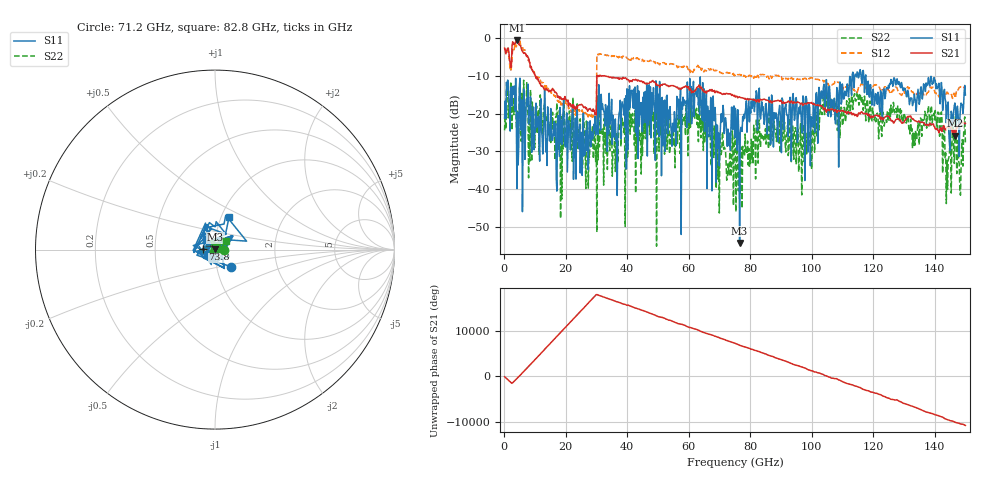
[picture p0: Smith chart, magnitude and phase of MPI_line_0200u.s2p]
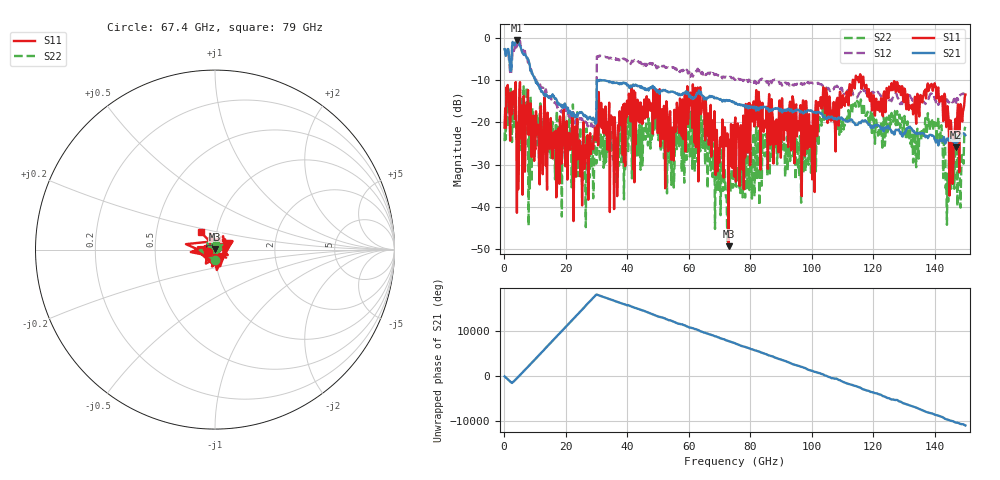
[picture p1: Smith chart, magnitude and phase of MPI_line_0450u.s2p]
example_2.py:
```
"""
Example to demonstrate how to do a 1st-tier mTRL calibration (raw data from VNA).
"""
import os  

# need to be installed via pip
import skrf as rf 
import numpy as np
import matplotlib.pyplot as plt

# my script (MultiCal.py and TUGmTRL must also be in same folder)
from mTRL import mTRL

class PlotSettings:
    # to make plots look better for publication
    # https://matplotlib.org/stable/tutorials/introductory/customizing.html
    def __init__(self, font_size=10, latex=False): 
        self.font_size = font_size 
        self.latex = latex
    def __enter__(self):
        plt.style.use('seaborn-v0_8-paper')
        # make svg output text and not curves
        plt.rcParams['svg.fonttype'] = 'none'
        # fontsize of the axes title
        plt.rc('axes', titlesize=self.font_size*1.2)
        # fontsize of the x and y labels
        plt.rc('axes', labelsize=self.font_size)
        # fontsize of the tick labels
        plt.rc('xtick', labelsize=self.font_size)
        plt.rc('ytick', labelsize=self.font_size)
        # legend fontsize
        plt.rc('legend', fontsize=self.font_size*1)
        # fontsize of the figure title
        plt.rc('figure', titlesize=self.font_size)
        # controls default text sizes
        plt.rc('text', usetex=self.latex)
        #plt.rc('font', size=self.font_size, family='serif', serif='Times New Roman')
        plt.rc('lines', linewidth=1.5)
    def __exit__(self, exception_type, exception_value, traceback):
        plt.style.use('default')

def plot_2x2(NW, fig, axs, f_units='ghz', name='mTRL', title='mTRL'):
    NW.frequency.unit = f_units
    NW.name = name
    for inx in NW.port_tuples:
        m = inx[0]
        n = inx[1]
        NW.plot_s_db(m=m, n=n, ax=axs[inx])
    fig.suptitle(title)
    fig.tight_layout(pad=1.08)

# main script
if __name__ == '__main__':
    # useful functions
    c0 = 299792458   # speed of light in vacuum (m/s)
    mag2db = lambda x: 20*np.log10(abs(x))
    db2mag = lambda x: 10**(x/20)
    gamma2ereff = lambda x,f: -(c0/2/np.pi/f*x)**2
    ereff2gamma = lambda x,f: 2*np.pi*f/c0*np.sqrt(-(x-1j*np.finfo(complex).eps))  # eps to ensure positive square-root
    gamma2dbmm  = lambda x: mag2db(np.exp(x.real*1e-3))  # losses dB/mm

    # load the measurements
    # files' path are reference to script's path
    s2p_path = os.path.dirname(os.path.realpath(__file__)) + '\\s2p_example_2\\'
    
    # switch terms
    gamma_f = rf.Network(s2p_path + 'VNA_switch_term.s2p').s21
    gamma_r = rf.Network(s2p_path + 'VNA_switch_term.s2p').s12
    
    # Calibration standards
    L1    = rf.Network(s2p_path + 'MPI_line_0200u.s2p')
    L2    = rf.Network(s2p_path + 'MPI_line_0450u.s2p')
    L3    = rf.Network(s2p_path + 'MPI_line_0900u.s2p')
    L4    = rf.Network(s2p_path + 'MPI_line_1800u.s2p')
    L5    = rf.Network(s2p_path + 'MPI_line_3500u.s2p')
    L6    = rf.Network(s2p_path + 'MPI_line_5250u.s2p') # used as DUT
    SHORT = rf.Network(s2p_path + 'MPI_short.s2p')
    
    lines = [L1, L2, L3, L4, L5, L6]
    line_lengths = [200e-6, 450e-6, 900e-6, 1800e-6, 3500e-6, 5250e-6]
    reflect = [SHORT]
    reflect_est = [-1]
    reflect_offset = [-100e-6]
    
    cal = mTRL(lines=lines, line_lengths=line_lengths, reflect=reflect, 
               reflect_est=reflect_est, reflect_offset=reflect_offset, ereff_est=5+0j,
               switch_term=[gamma_f, gamma_r])
    
    DUT = L6
    # using NIST MultiCal
    cal.run_multical()
    k_nist = cal.k
    dut_cal_nist = cal.apply_cal(DUT)
    gamma_mul = cal.gamma
    ereff_mul = cal.ereff
    
    # using TUG mTRL
    cal.run_tug()
    k_tug = cal.k
    dut_cal_tug = cal.apply_cal(DUT)
    gamma_tug = cal.gamma
    ereff_tug = cal.ereff
    
    # using skrf 
    line_lengths = line_lengths
    offset = line_lengths[0]
    line_lengths = [i - offset for i in line_lengths] # to set the reference the same as my code
    measured = [L1, SHORT, L2, L3, L4, L5, L6]
    cal_skrf = rf.NISTMultilineTRL(
        measured = measured,
        Grefls = [-1],
        l = line_lengths,
        refl_offset = reflect_offset,
        er_est = 5+0j,
        switch_terms = (gamma_f, gamma_r)
    )
    cal_skrf.run()
    dut_cal_skrf = cal_skrf.apply_cal(DUT)
    gamma_skrf = cal_skrf.gamma
    ereff_skrf = cal_skrf.er_eff

    with PlotSettings(14):
        fig, axs = plt.subplots(2,2, figsize=(10,7))
        fig.set_dpi(600)
        plot_2x2(dut_cal_nist, fig, axs, name='NIST MultiCal', title='Calibrated DUT (Line)')
        plot_2x2(dut_cal_tug, fig, axs, name='TUG mTRL', title='Calibrated DUT (Line)')
        plot_2x2(dut_cal_skrf, fig, axs, name='skrf', title='Calibrated DUT (Line)')

    f = L1.frequency.f
    with PlotSettings(14):
        fig, axs = plt.subplots(1,2, figsize=(10,3.8))        
        fig.set_dpi(600)
        fig.tight_layout(pad=2)
        ax = axs[0]
        ax.plot(f*1e-9, ereff_mul.real, lw=2, label='NIST MultiCal', 
                marker='^', markevery=50, markersize=10)
        ax.plot(f*1e-9, ereff_tug.real, lw=2, label='TUG mTRL', 
                marker='v', markevery=50, markersize=10)
        ax.plot(f*1e-9, ereff_skrf.real, lw=2, label='skrf', 
                marker='>', markevery=50, markersize=10)
        ax.set_xlabel('Frequency (GHz)')
        ax.set_ylabel('Relative effective permittivity')
        ax.set_ylim([4.5, 6])
        ax.set_yticks(np.arange(4.5, 6.01, 0.3))
        ax.set_xlim(0,150)
        ax.set_xticks(np.arange(0,151,30))
        ax.legend()
        ax = axs[1]
        ax.plot(f*1e-9, gamma2dbmm(gamma_mul), lw=2, label='NIST MultiCal', 
                marker='^', markevery=50, markersize=10)
        ax.plot(f*1e-9, gamma2dbmm(gamma_tug), lw=2, label='TUG mTRL', 
                marker='v', markevery=50, markersize=10)
        ax.plot(f*1e-9, gamma2dbmm(gamma_skrf), lw=2, label='skrf', 
                marker='>', markevery=50, markersize=10)
        ax.set_xlabel('Frequency (GHz)')
        ax.set_ylabel('Loss (dB/mm)')
        ax.set_ylim([0, 1.5])
        ax.set_yticks(np.arange(0, 1.51, 0.3))
        ax.set_xlim(0,150)
        ax.set_xticks(np.arange(0,151,30))
        ax.legend()
    
    plt.show()
    
# EOF
```
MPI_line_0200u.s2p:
!  2-Port S-parameters saved by WinCal
! VAR MeasName=S-Parameters (RAW_DATA) read from VNA (MS4647B)
! VAR MeasDate=09-Dec-21 16:13:14
! VAR NAME=L0
! VAR FILENAME=L0.S2P
! VAR DATE=09-Dec-21 16:13:14
! VAR PHYS_PORTS=1,2
! VAR ObjTypeName=DATASET
! VAR IndexType=Frequency
# Hz S RI R 50
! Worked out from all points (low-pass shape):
!   750 points, 200 MHz to 150 GHz, reference 50 ohm
!   highest |S21| = -0.65 dB at 4.2 GHz (marker M1); lowest = -25.9 dB at 146.6 GHz (marker M2)
!   |S21| within 3 dB of the highest: 777.9 MHz to 1.556 GHz (778 MHz wide, 66.7 % of centre); 2.543 GHz to 6.068 GHz (3.526 GHz wide, 81.9 % of centre)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
!   lowest |S11| = -54.3 dB at 76.6 GHz (marker M3), VSWR 1.00, Z = 50.2 + j0.0714 ohm
!   |S11| at or under -10 dB: start of sweep to 113.2 GHz; 113.5485 GHz to 114.0448 GHz (496.3 MHz wide, 0.436 % of centre); 117.6 GHz to end of sweep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
!   |S22| runs from -55.1 to -11.2 dB; largest |S21 - S12| = 1.8
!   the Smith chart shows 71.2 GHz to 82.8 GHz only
!   S11 on the Smith chart (normalised r, x): 71.2 GHz: 1.17, -0.22; 73.8 GHz: 0.87, +0.00; 82.8 GHz: 1.09, +0.42
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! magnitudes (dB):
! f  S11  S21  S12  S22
! 200 MHz  -21.3  -2.7  -2.6  -24.5
! 4.2 GHz  -39.9  -0.6  -1.3  -24.3
! 29.4 GHz  -24.4  -19.2  -20.8  -27.4
! 30.8 GHz  -12.3  -10.2  -4.5  -19.5
! 71.2 GHz  -17.8  -14.9  -9.4  -26.4
! 73.8 GHz  -23.2  -14.9  -9.2  -36.7
! 75.2 GHz  -18.6  -15.7  -9.8  -28.1
! 76.6 GHz  -54.3  -15.6  -9.6  -37.5
! 82.8 GHz  -14.0  -17.0  -10.5  -22.4
! 146.6 GHz  -17.2  -25.9  -15.9  -22.7
! 150 GHz  -15.1  -22.6  -13.4  -27.6
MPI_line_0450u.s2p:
!  2-Port S-parameters saved by WinCal
! VAR MeasName=S-Parameters (RAW_DATA) read from VNA (MS4647B)
! VAR MeasDate=09-Dec-21 16:08:55
! VAR NAME=L1
! VAR FILENAME=L1.S2P
! VAR DATE=09-Dec-21 16:08:55
! VAR PHYS_PORTS=1,2
! VAR ObjTypeName=DATASET
! VAR IndexType=Frequency
# Hz S RI R 50
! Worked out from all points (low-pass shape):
!   750 points, 200 MHz to 150 GHz, reference 50 ohm
!   highest |S21| = -0.66 dB at 4.2 GHz (marker M1); lowest = -25.8 dB at 146.8 GHz (marker M2)
!   |S21| within 3 dB of the highest: 775.3 MHz to 1.557 GHz (781.5 MHz wide, 67 % of centre); 2.542 GHz to 6.061 GHz (3.519 GHz wide, 81.8 % of centre)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
!   lowest |S11| = -49.2 dB at 73 GHz (marker M3), VSWR 1.01, Z = 50.1 + j0.331 ohm
!   |S11| at or under -10 dB: start of sweep to 113.4 GHz; 113.6 GHz to 114.2 GHz (677.8 MHz wide, 0.595 % of centre); 116.9 GHz to end of sweep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
!   |S22| runs from -48.4 to -11.5 dB; largest |S21 - S12| = 1.8
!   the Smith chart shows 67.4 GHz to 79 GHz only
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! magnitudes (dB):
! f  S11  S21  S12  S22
! 200 MHz  -21.2  -2.7  -2.6  -24.4
! 4.2 GHz  -41.4  -0.7  -1.3  -23.7
! 29.4 GHz  -23.2  -19.3  -20.9  -25.1
! 30.8 GHz  -12.8  -10.2  -4.5  -20.4
! 36.4 GHz  -24.2  -10.7  -5.3  -23.8
! 63.6 GHz  -13.8  -12.9  -7.4  -24.3
! 73 GHz  -49.2  -14.8  -9.3  -30.7
! 75.2 GHz  -18.8  -15.7  -9.9  -31.7
! 114.6 GHz  -9.4  -20.6  -14.2  -16.1
! 146.8 GHz  -19.2  -25.8  -15.9  -22.4
! 150 GHz  -13.4  -23.0  -13.8  -21.0
